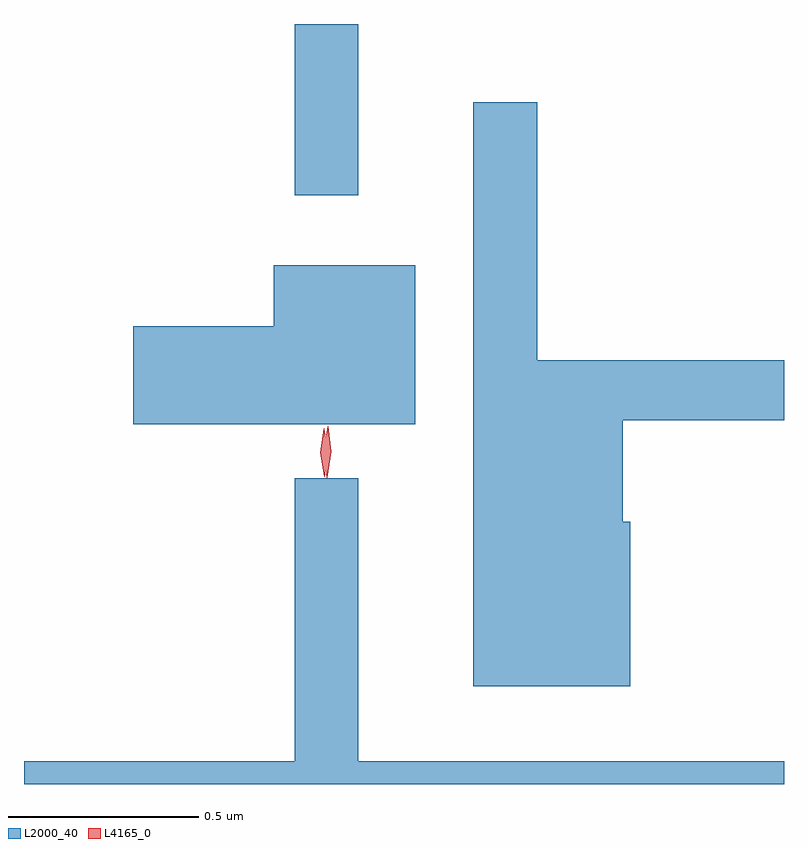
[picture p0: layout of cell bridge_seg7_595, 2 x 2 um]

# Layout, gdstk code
import gdstk
lib = gdstk.Library(unit=1e-6, precision=1e-09)
def R(c, l, rs):  # rectangles x0, y0, x1, y1
    for r in rs: c.add(gdstk.rectangle(r[:2], r[2:], *l))
def P(c, l, *ps):  # polygons
    for p in ps: c.add(gdstk.Polygon(p, *l))
L2000_40 = (2000, 40)
L4165_0 = (4165, 0)

bridge_seg7_595 = lib.new_cell('bridge_seg7_595')
R(bridge_seg7_595, L2000_40, [(768.501,1795.993,768.669,1796.444)])
P(bridge_seg7_595, L2000_40, [(769.384,1795.134),(769.364,1795.134),(769.364,1795.401),(769.789,1795.401),(769.789,1795.559),(769.139,1795.559),(769.139,1796.238),(768.971,1796.238),(768.971,1794.701),(769.384,1794.701)],
  [(768.819,1795.809),(768.446,1795.809),(768.446,1795.649),(768.076,1795.649),(768.076,1795.391),(768.819,1795.391)],
  [(769.789,1794.504),(768.669,1794.504),(768.669,1795.248),(768.501,1795.248),(768.501,1794.504),(767.789,1794.504),(767.789,1794.444),(769.789,1794.444)])
P(bridge_seg7_595, L4165_0, [(768.579,1795.253),(768.579,1795.253),(768.569,1795.316),(768.578,1795.379),(768.579,1795.38),(768.579,1795.379),(768.589,1795.316),(768.58,1795.253)],
  [(768.586,1795.25),(768.578,1795.318),(768.588,1795.386),(768.588,1795.386),(768.589,1795.386),(768.598,1795.318),(768.587,1795.25),(768.587,1795.25)])

lib.write_gds('bridge_seg7_595.gds')
